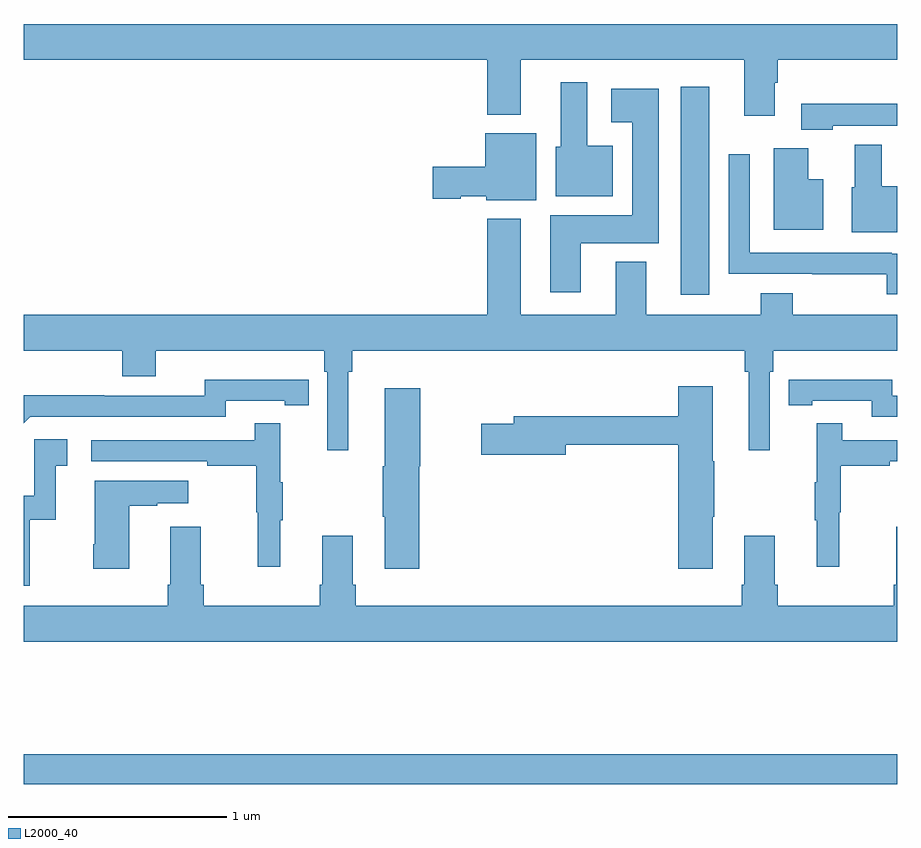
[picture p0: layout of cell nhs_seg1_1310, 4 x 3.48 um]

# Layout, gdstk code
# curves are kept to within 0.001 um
import gdstk
lib = gdstk.Library(unit=1e-6, precision=1e-09)
def R(c, l, rs):  # rectangles x0, y0, x1, y1
    for r in rs: c.add(gdstk.rectangle(r[:2], r[2:], *l))
def P(c, l, *ps):  # polygons
    for p in ps: c.add(gdstk.Polygon(p, *l))
L2000_40 = (2000, 40)

nhs_seg1_1310 = lib.new_cell('nhs_seg1_1310')
R(nhs_seg1_1310, L2000_40, [(183,504.46,187,504.596), (186.008,506.7,186.139,507.652)])
P(nhs_seg1_1310, L2000_40, [(186.439,507.67),(186.452,507.67),(186.452,507.776),(187,507.776),(187,507.94),(183,507.94),(183,507.776),(185.123,507.776),(185.123,507.524),(185.275,507.524),(185.275,507.776),(186.299,507.776),(186.299,507.519),(186.439,507.519)],
  [(185.698,507.382),(185.581,507.382),(185.581,507.673),(185.459,507.673),(185.459,507.378),(185.435,507.378),(185.435,507.152),(185.698,507.152)],
  [(185.551,506.936),(185.908,506.936),(185.908,507.643),(185.691,507.643),(185.691,507.491),(185.786,507.491),(185.786,507.064),(185.411,507.064),(185.411,506.712),(185.551,506.712)],
  [(186.705,507.473),(187,507.473),(187,507.574),(186.561,507.574),(186.561,507.455),(186.705,507.455)],
  [(185.347,507.439),(185.114,507.439),(185.114,507.287),(184.872,507.287),(184.872,507.14),(185.001,507.14),(185.001,507.152),(185.118,507.152),(185.118,507.134),(185.347,507.134)],
  [(187,507.196),(186.928,507.196),(186.928,507.388),(186.806,507.388),(186.806,507.192),(186.791,507.192),(186.791,506.987),(187,506.987)],
  [(186.661,507.229),(186.592,507.229),(186.592,507.37),(186.434,507.37),(186.434,506.999),(186.661,506.999)],
  [(187,506.889),(186.974,506.889),(186.974,506.892),(186.325,506.892),(186.325,506.893),(186.324,506.893),(186.324,507.343),(186.228,507.343),(186.228,506.796),(186.61,506.796),(186.61,506.795),(186.952,506.795),(186.952,506.702),(187,506.702)],
  [(184.486,506.348),(184.505,506.348),(184.505,506.444),(186.301,506.444),(186.301,506.348),(186.32,506.348),(186.32,505.989),(186.417,505.989),(186.417,506.348),(186.431,506.348),(186.431,506.444),(187,506.444),(187,506.608),(186.522,506.608),(186.522,506.707),(186.374,506.707),(186.374,506.608),(185.851,506.608),(185.851,506.851),(185.711,506.851),(185.711,506.608),(185.275,506.608),(185.275,507.049),(185.123,507.049),(185.123,506.608),(183,506.608),(183,506.444),(183.452,506.444),(183.452,506.327),(183.604,506.327),(183.604,506.444),(184.376,506.444),(184.376,506.348),(184.389,506.348),(184.389,505.989),(184.486,505.989)],
  [(187,506.238),(186.978,506.238),(186.978,506.311),(186.61,506.311),(186.61,506.31),(186.502,506.31),(186.502,506.194),(186.61,506.194),(186.61,506.214),(186.882,506.214),(186.882,506.142),(187,506.142)],
  [(183.03,506.142),(183.924,506.142),(183.924,506.214),(184.196,506.214),(184.196,506.194),(184.304,506.194),(184.304,506.31),(183.828,506.311),(183.828,506.238),(183.368,506.238),(183.368,506.24),(183,506.24),(183,506.112)],
  [(186.154,505.684),(186.162,505.684),(186.162,505.937),(186.154,505.937),(186.154,506.281),(185.996,506.281),(185.996,506.143),(185.243,506.143),(185.243,506.109),(185.094,506.109),(185.094,505.967),(185.482,505.967),(185.482,506.014),(185.996,506.014),(185.996,505.446),(186.154,505.446)],
  [(184.811,505.914),(184.816,505.914),(184.816,506.272),(184.652,506.272),(184.652,505.914),(184.645,505.914),(184.645,505.684),(184.652,505.684),(184.652,505.446),(184.811,505.446)],
  [(184.175,505.667),(184.186,505.667),(184.186,505.841),(184.175,505.841),(184.175,506.113),(184.057,506.113),(184.057,506.034),(183.309,506.034),(183.309,505.938),(183.841,505.938),(183.841,505.918),(184.065,505.918),(184.065,505.704),(184.072,505.704),(184.072,505.455),(184.175,505.455)],
  [(186.734,505.704),(186.742,505.704),(186.742,505.918),(186.965,505.918),(186.965,505.938),(187,505.938),(187,506.034),(186.749,506.034),(186.749,506.113),(186.632,506.113),(186.632,505.841),(186.621,505.841),(186.621,505.667),(186.632,505.667),(186.632,505.455),(186.734,505.455)],
  [(183.028,505.671),(183.146,505.671),(183.146,505.917),(183.199,505.917),(183.199,506.038),(183.048,506.038),(183.048,505.779),(183,505.779),(183,505.368),(183.028,505.368)],
  [(183.484,505.735),(183.611,505.735),(183.611,505.745),(183.754,505.745),(183.754,505.849),(183.326,505.849),(183.326,505.558),(183.319,505.558),(183.319,505.446),(183.484,505.446)],
  [(187,505.639),(186.995,505.639),(186.995,505.372),(186.983,505.372),(186.983,505.276),(186.452,505.276),(186.452,505.372),(186.439,505.372),(186.439,505.597),(186.299,505.597),(186.299,505.372),(186.287,505.372),(186.287,505.276),(184.52,505.276),(184.52,505.372),(184.507,505.372),(184.507,505.597),(184.367,505.597),(184.367,505.372),(184.355,505.372),(184.355,505.276),(183.824,505.276),(183.824,505.372),(183.811,505.372),(183.811,505.639),(183.671,505.639),(183.671,505.372),(183.659,505.372),(183.659,505.276),(183,505.276),(183,505.112),(187,505.112)])

lib.write_gds('nhs_seg1_1310.gds')
